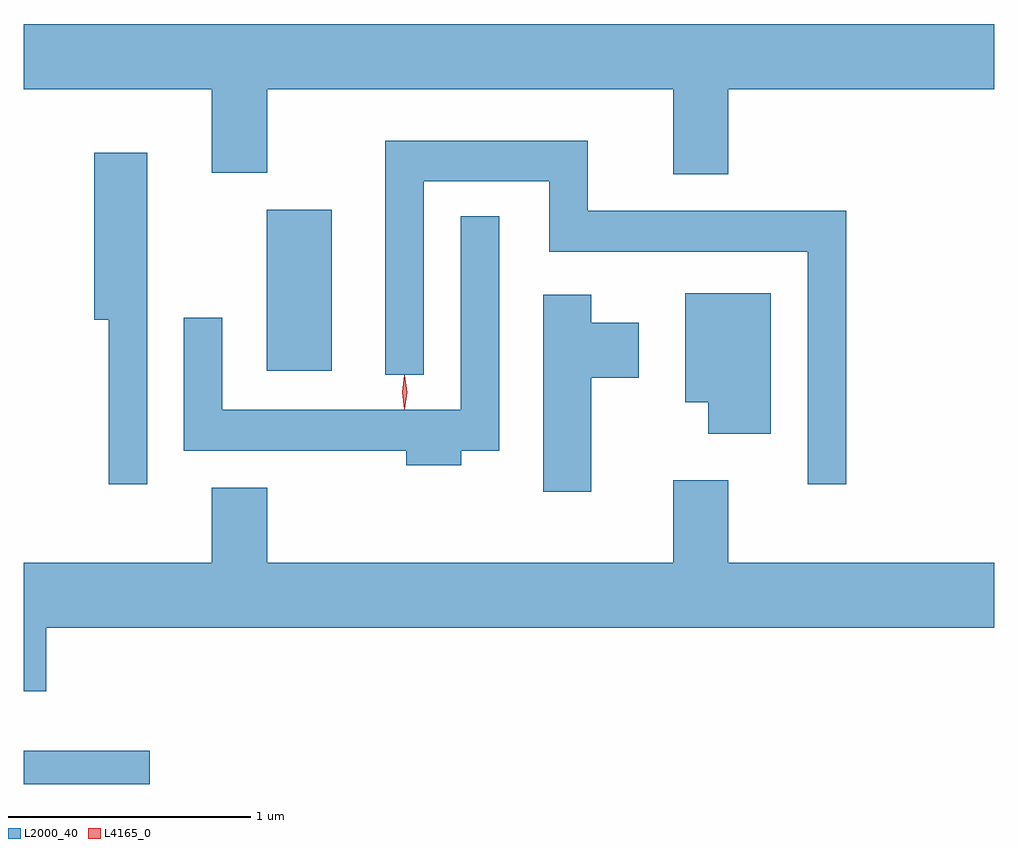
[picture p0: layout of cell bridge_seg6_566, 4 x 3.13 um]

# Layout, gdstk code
import gdstk
lib = gdstk.Library(unit=1e-6, precision=1e-09)
def R(c, l, rs):  # rectangles x0, y0, x1, y1
    for r in rs: c.add(gdstk.rectangle(r[:2], r[2:], *l))
def P(c, l, *ps):  # polygons
    for p in ps: c.add(gdstk.Polygon(p, *l))
L2000_40 = (2000, 40)
L4165_0 = (4165, 0)

bridge_seg6_566 = lib.new_cell('bridge_seg6_566')
R(bridge_seg6_566, L2000_40, [(464.385,1609.333,464.904,1609.469), (465.386,1611.036,465.654,1611.699)])
P(bridge_seg6_566, L2000_40, [(467.289,1612.196),(468.385,1612.196),(468.385,1612.464),(464.385,1612.464),(464.385,1612.196),(465.161,1612.196),(465.161,1611.851),(465.389,1611.851),(465.389,1612.196),(467.061,1612.196),(467.061,1611.846),(467.289,1611.846)],
  [(467.774,1611.694),(466.709,1611.694),(466.709,1611.984),(465.876,1611.984),(465.876,1611.018),(466.034,1611.018),(466.034,1611.816),(466.551,1611.816),(466.551,1611.526),(467.616,1611.526),(467.616,1610.568),(467.774,1610.568)],
  [(464.894,1611.934),(464.676,1611.934),(464.676,1611.246),(464.736,1611.246),(464.736,1610.568),(464.894,1610.568)],
  [(466.189,1610.706),(466.344,1610.706),(466.344,1611.673),(466.186,1611.673),(466.186,1610.874),(465.204,1610.874),(465.204,1611.253),(465.046,1611.253),(465.046,1610.706),(465.961,1610.706),(465.961,1610.646),(466.189,1610.646)],
  [(467.464,1611.354),(467.111,1611.354),(467.111,1610.906),(467.206,1610.906),(467.206,1610.776),(467.464,1610.776)],
  [(466.724,1611.006),(466.919,1611.006),(466.919,1611.234),(466.724,1611.234),(466.724,1611.349),(466.526,1611.349),(466.526,1610.536),(466.724,1610.536)],
  [(464.479,1609.976),(468.385,1609.976),(468.385,1610.244),(467.289,1610.244),(467.289,1610.584),(467.061,1610.584),(467.061,1610.244),(465.389,1610.244),(465.389,1610.554),(465.161,1610.554),(465.161,1610.244),(464.385,1610.244),(464.385,1609.716),(464.479,1609.716)])
P(bridge_seg6_566, L4165_0, [(465.954,1610.877),(465.945,1610.946),(465.954,1611.016),(465.955,1611.016),(465.956,1611.016),(465.965,1610.946),(465.956,1610.877),(465.955,1610.877)],
  [(465.955,1610.879),(465.954,1610.88),(465.945,1610.946),(465.954,1611.012),(465.955,1611.013),(465.955,1611.012),(465.965,1610.946),(465.955,1610.88)])

lib.write_gds('bridge_seg6_566.gds')
